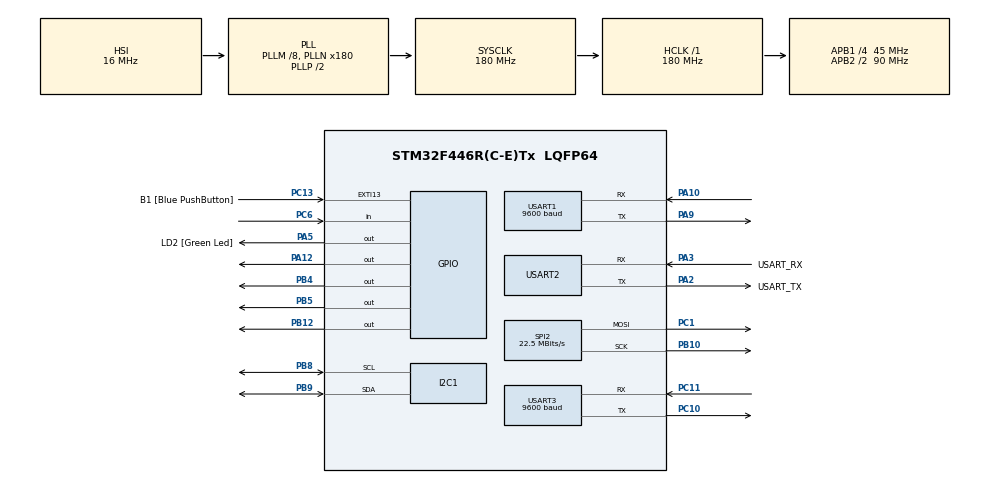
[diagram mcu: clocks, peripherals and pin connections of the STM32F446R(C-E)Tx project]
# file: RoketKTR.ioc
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FATFS._MAX_SS=4096
FATFS._USE_LFN=1
I2C1.I2C_Mode=I2C_Fast
Mcu.Family=STM32F4
Mcu.Name=STM32F446R(C-E)Tx
Mcu.Package=LQFP64
NVIC.PriorityGroup=NVIC_PRIORITYGROUP_0
NVIC.TIM7_IRQn=true\:0\:0\:false\:false\:true\:true\:true\:true
NVIC.USART1_IRQn=true\:0\:0\:false\:false\:true\:true\:true\:true
NVIC.USART3_IRQn=true\:0\:0\:false\:false\:true\:true\:true\:true
PA10.Mode=Asynchronous
PA10.Signal=USART1_RX
PA12.GPIO_PuPd=GPIO_PULLUP
PA12.Signal=GPIO_Output
PA13.GPIO_Label=TMS
PA13.Mode=Serial_Wire
PA13.Signal=SYS_JTMS-SWDIO
PA14.GPIO_Label=TCK
PA14.Mode=Serial_Wire
PA14.Signal=SYS_JTCK-SWCLK
PA2.GPIO_Label=USART_TX
PA2.Mode=Asynchronous
PA2.Signal=USART2_TX
PA3.GPIO_Label=USART_RX
PA3.Mode=Asynchronous
PA3.Signal=USART2_RX
PA5.GPIO_Label=LD2 [Green Led]
PA5.Signal=GPIO_Output
PA9.Mode=Asynchronous
PA9.Signal=USART1_TX
PB10.Mode=TX_Only_Simplex_Unidirect_Master
PB10.Signal=SPI2_SCK
PB12.GPIO_PuPd=GPIO_PULLDOWN
PB12.PinState=GPIO_PIN_SET
PB12.Signal=GPIO_Output
PB3.GPIO_Label=SWO
PB3.Signal=SYS_JTDO-SWO
PB4.GPIO_PuPd=GPIO_PULLDOWN
PB4.Signal=GPIO_Output
PB5.GPIO_PuPd=GPIO_PULLDOWN
PB5.Signal=GPIO_Output
PB8.Mode=I2C
PB8.Signal=I2C1_SCL
PB9.Mode=I2C
PB9.Signal=I2C1_SDA
PC1.Mode=TX_Only_Simplex_Unidirect_Master
PC1.Signal=SPI2_MOSI
PC10.Mode=Asynchronous
PC10.Signal=USART3_TX
PC11.Mode=Asynchronous
PC11.Signal=USART3_RX
PC13.GPIO_Label=B1 [Blue PushButton]
PC13.GPIO_ModeDefaultEXTI=GPIO_MODE_IT_FALLING
PC13.Signal=GPXTI13
PC14-OSC32_IN.Mode=LSE-External-Oscillator
PC14-OSC32_IN.Signal=RCC_OSC32_IN
PC15-OSC32_OUT.Mode=LSE-External-Oscillator
PC15-OSC32_OUT.Signal=RCC_OSC32_OUT
PC6.Signal=GPIO_Input
PH0-OSC_IN.Mode=HSE-External-Oscillator
PH0-OSC_IN.Signal=RCC_OSC_IN
PH1-OSC_OUT.Mode=HSE-External-Oscillator
PH1-OSC_OUT.Signal=RCC_OSC_OUT
ProjectManager.HeapSize=0x200
ProjectManager.StackSize=0x400
ProjectManager.TargetToolchain=STM32CubeIDE
RCC.48MHZClocksFreq_Value=84000000
RCC.AHBFreq_Value=180000000
RCC.APB1CLKDivider=RCC_HCLK_DIV4
RCC.APB1Freq_Value=45000000
RCC.APB1TimFreq_Value=90000000
RCC.APB2CLKDivider=RCC_HCLK_DIV2
RCC.APB2Freq_Value=90000000
RCC.APB2TimFreq_Value=180000000
RCC.CortexFreq_Value=180000000
RCC.FLatency-AdvancedSettings=FLASH_LATENCY_5
RCC.HCLKFreq_Value=180000000
RCC.HSE_VALUE=8000000
RCC.HSI_VALUE=16000000
RCC.PLLM=8
RCC.PLLN=180
RCC.SYSCLKFreq_VALUE=180000000
RCC.SYSCLKSource=RCC_SYSCLKSOURCE_PLLCLK
RCC.USBFreq_Value=180000000
RCC.VCOOutputFreq_Value=360000000
SPI2.CalculateBaudRate=22.5 MBits/s
SPI2.Direction=SPI_DIRECTION_2LINES
SPI2.Mode=SPI_MODE_MASTER
SPI2.VirtualType=VM_MASTER
TIM7.Period=549
TIM7.Prescaler=1000
USART1.BaudRate=9600
USART1.VirtualMode=VM_ASYNC
USART2.VirtualMode=VM_ASYNC
USART3.BaudRate=9600
USART3.VirtualMode=VM_ASYNC
VP_FATFS_VS_Generic.Mode=User_defined
VP_TIM7_VS_ClockSourceINT.Mode=Enable_Timer
board=NUCLEO-F446RE

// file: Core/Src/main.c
/* USER CODE BEGIN Header */
/**
 ******************************************************************************
 * @file           : main.c
 * @brief          : Main program body
 ******************************************************************************
 * @attention
 *
 * Copyright (c) 2024 STMicroelectronics.
 * All rights reserved.
 *
 * This software is licensed under terms that can be found in the LICENSE file
 * in the root directory of this software component.
 * If no LICENSE file comes with this software, it is provided AS-IS.
 *
 ******************************************************************************
 */
/* USER CODE END Header */
#include "main.h"

/* USER CODE BEGIN Includes */
#include "lwgps/lwgps.h"
#include "ms5803.h"
#include "mpu9255.h"
#include "kalman.h"

#include "string.h"
/* USER CODE END Includes */

/* USER CODE BEGIN PTD */
typedef union{
	float           sayi;
	unsigned char   array[4];
}FLOAT32_UINT8_DONUSTURUCU;

/* USER CODE END PTD */

I2C_HandleTypeDef hi2c1;

SPI_HandleTypeDef hspi2;

TIM_HandleTypeDef htim7;

UART_HandleTypeDef huart1;
UART_HandleTypeDef huart2;
UART_HandleTypeDef huart3;

/* USER CODE BEGIN PV */
//gps değişkenleri
lwgps_t gps;

uint8_t rx_buffer[128];
uint8_t rx_data = 0;
uint8_t rx_index = 0;
uint8_t r = '\n';
//ms5803 sıcaklık ve basınç değeri
float temperature, pressure = 0;
float Rpitch;
float irtifaP;
//imu sensör
MPU9255_t MPU9255;

//PAKET YAPISI
unsigned char olusturalacak_paket[48];

volatile bool readSensorFlag = false;
float altitudeChange = 0;

uint16_t timerCount = 0;
bool bayrak = false;

/* USER CODE END PV */

void SystemClock_Config(void);
static void MX_GPIO_Init(void);
static void MX_USART2_UART_Init(void);
static void MX_USART1_UART_Init(void);
static void MX_USART3_UART_Init(void);
static void MX_I2C1_Init(void);
static void MX_SPI2_Init(void);
static void MX_TIM7_Init(void);
/* USER CODE BEGIN PFP */

int _write(int file, char *ptr, int len)
{
	HAL_UART_Transmit(&huart2, (uint8_t*)ptr, len, HAL_MAX_DELAY);
	return len;
}
void send_uart (char *string)
{
	uint8_t len = strlen(string);
	HAL_UART_Transmit(&huart2, (uint8_t *)string , len, 2000);
}

void paketolustur(void);

double altitudeC(float  P);

void HAL_TIM_PeriodElapsedCallback(TIM_HandleTypeDef *htim)
{

	readSensorFlag = true;

	HAL_GPIO_WritePin(GPIOA, GPIO_PIN_5, 1);
	paketolustur();

	uint8_t buffer = 0x00;
	HAL_UART_Transmit(&huart3, &buffer, 1, 100);

	HAL_UART_Transmit(&huart3, &buffer, 1, 100);
	buffer = 0x17;
	HAL_UART_Transmit(&huart3, &buffer, 1, 100);

	HAL_UART_Transmit(&huart3, olusturalacak_paket, 48, 100);

	HAL_UART_Transmit(&huart3, &buffer, 1, 100);
	HAL_TIM_Base_Start_IT(&htim7);
	HAL_GPIO_WritePin(GPIOA, GPIO_PIN_5, 0);

}
void HAL_UART_RxCpltCallback(UART_HandleTypeDef *huart)
{
	if(huart == &huart1)
	{
		if(rx_data != '\n'&& rx_index<=sizeof(rx_buffer))
		{
			rx_buffer[rx_index++] = rx_data;

		}
		else
		{
			//parser
			lwgps_process(&gps, rx_buffer, rx_index+1);
			rx_index=0;
			rx_data = 0;

		}
		HAL_UART_Receive_IT(&huart1, &rx_data, 1);
	}

}

double altitude(float P)
// Given a pressure measurement P (mbar) and the pressure at a baseline P0 (mbar),
// return altitude (meters) above baseline.
{
	return(44330.0*(1-pow(P/1013.25,1/5.255)));
}

/* USER CODE END PFP */

int main(void)
{

	/* MCU Configuration--------------------------------------------------------*/

	/* Reset of all peripherals, Initializes the Flash interface and the Systick. */
	HAL_Init();

	/* Configure the system clock */
	SystemClock_Config();

	/* Initialize all configured peripherals */
	MX_GPIO_Init();
	MX_USART2_UART_Init();
	MX_USART1_UART_Init();
	MX_USART3_UART_Init();
	MX_I2C1_Init();
	MX_SPI2_Init();
	MX_TIM7_Init();

	/* USER CODE BEGIN 2 */
	//gps init
	lwgps_init(&gps);

	//ms5803 init

	HAL_StatusTypeDef test = MS5803_reset(&hi2c1); //reset
	MS5803_Init(&hi2c1, 6);

	while(test == HAL_ERROR) {
		//if the test fails
	}
	while(MPU9255_Init(&hi2c1)==1);
	HAL_Delay(1000);
	HAL_UART_Receive_IT(&huart1, &rx_data, 1);
	HAL_TIM_Base_Start_IT(&htim7);

	/* USER CODE END 2 */

	/* Infinite loop */
	/* USER CODE BEGIN WHILE */
	while (1)
	{

		MS5803_get_values(&hi2c1, ADC_4096, &temperature, &pressure);
		readAll(&hi2c1, &MPU9255);
		//HAL_Delay(10);
		irtifaP = altitude(pressure);
		Rpitch = MPU9255.pitch;
		if(readSensorFlag)
		{
			if(timerCount > 20)
			{
				bayrak = true;
			}
			timerCount++;
			altitudeChange = altitudeC(pressure);
			readSensorFlag = false;
			if((timerCount > 20 || bayrak ) && ((altitudeChange > 7) || (MPU9255.AccelZ < 0.1)))
			{
				HAL_GPIO_WritePin(GPIOB, GPIO_PIN_5, GPIO_PIN_SET);
				HAL_Delay(400);
				HAL_GPIO_WritePin(GPIOB, GPIO_PIN_5, GPIO_PIN_RESET);
			}
		}
		if(((MPU9255.AccelZ < 0.1)))
		{
			HAL_GPIO_WritePin(GPIOB, GPIO_PIN_5, GPIO_PIN_SET);
			HAL_Delay(400);
			HAL_GPIO_WritePin(GPIOB, GPIO_PIN_5, GPIO_PIN_RESET);
		}

		//HAL_GPIO_WritePin(GPIOB, GPIO_PIN_5, GPIO_PIN_SET);

		//HAL_UART_Transmit(&huart3, olusturalacak_paket, 44, 10);

		/* USER CODE END WHILE */

	}
}
double altitudeC(float  P)
// Given a pressure measurement P (mbar) and the pressure at a baseline P0 (mbar),
// return altitude (meters) above baseline.
{

	float p0ressure = 0;
	MS5803_get_values(&hi2c1, ADC_4096, &temperature, &p0ressure);

	return(44330.0*(1-pow(P/p0ressure,1/5.255)));

}

void paketolustur(void)
{

	FLOAT32_UINT8_DONUSTURUCU irtifa;
	irtifa.sayi = irtifaP;
	olusturalacak_paket[0]=irtifa.array[0];
	olusturalacak_paket[1]=irtifa.array[1];
	olusturalacak_paket[2]=irtifa.array[2];
	olusturalacak_paket[3]=irtifa.array[3];

	FLOAT32_UINT8_DONUSTURUCU gpsIrtifa;
	gpsIrtifa.sayi = gps.altitude;
	olusturalacak_paket[4]=gpsIrtifa.array[0];
	olusturalacak_paket[5]=gpsIrtifa.array[1];
	olusturalacak_paket[6]=gpsIrtifa.array[2];
	olusturalacak_paket[7]=gpsIrtifa.array[3];

	FLOAT32_UINT8_DONUSTURUCU enlem;
	enlem.sayi = gps.latitude;
	olusturalacak_paket[8]=enlem.array[0];
	olusturalacak_paket[9]=enlem.array[1];
	olusturalacak_paket[10]=enlem.array[2];
	olusturalacak_paket[11]=enlem.array[3];

	FLOAT32_UINT8_DONUSTURUCU boylam;
	boylam.sayi = gps.longitude;
	olusturalacak_paket[12]=boylam.array[0];
	olusturalacak_paket[13]=boylam.array[1];
	olusturalacak_paket[14]=boylam.array[2];
	olusturalacak_paket[15]=boylam.array[3];

	FLOAT32_UINT8_DONUSTURUCU gyroX;
	gyroX.sayi = MPU9255.GyroX;
	olusturalacak_paket[16]=gyroX.array[0];
	olusturalacak_paket[17]=gyroX.array[1];
	olusturalacak_paket[18]=gyroX.array[2];
	olusturalacak_paket[19]=gyroX.array[3];

	FLOAT32_UINT8_DONUSTURUCU gyroY;
	gyroY.sayi = MPU9255.GyroY;
	olusturalacak_paket[20]=gyroY.array[0];
	olusturalacak_paket[21]=gyroY.array[1];
	olusturalacak_paket[22]=gyroY.array[2];
	olusturalacak_paket[23]=gyroY.array[3];

	FLOAT32_UINT8_DONUSTURUCU gyroZ;
	gyroZ.sayi = MPU9255.GyroZ;
	olusturalacak_paket[24]=gyroZ.array[0];
	olusturalacak_paket[25]=gyroZ.array[1];
	olusturalacak_paket[26]=gyroZ.array[2];
	olusturalacak_paket[27]=gyroZ.array[3];

	FLOAT32_UINT8_DONUSTURUCU acx;
	acx.sayi = MPU9255.AccelX;
	olusturalacak_paket[28]=acx.array[0];
	olusturalacak_paket[29]=acx.array[1];
	olusturalacak_paket[30]=acx.array[2];
	olusturalacak_paket[31]=acx.array[3];

	FLOAT32_UINT8_DONUSTURUCU acy;
	acy.sayi = MPU9255.AccelY;
	olusturalacak_paket[32]=acy.array[0];
	olusturalacak_paket[33]=acy.array[1];
	olusturalacak_paket[34]=acy.array[2];
	olusturalacak_paket[35]=acy.array[3];

	FLOAT32_UINT8_DONUSTURUCU acz;
	acz.sayi = MPU9255.AccelZ;
	olusturalacak_paket[36]=acz.array[0];
	olusturalacak_paket[37]=acz.array[1];
	olusturalacak_paket[38]=acz.array[2];
	olusturalacak_paket[39]=acz.array[3];

	FLOAT32_UINT8_DONUSTURUCU angle;
	angle.sayi = Rpitch;
	olusturalacak_paket[40]=angle.array[0];
	olusturalacak_paket[41]=angle.array[1];
	olusturalacak_paket[42]=angle.array[2];
	olusturalacak_paket[43]=angle.array[3];

	FLOAT32_UINT8_DONUSTURUCU sicaklik;
	sicaklik.sayi = temperature;
	olusturalacak_paket[44]=sicaklik.array[0];
	olusturalacak_paket[45]=sicaklik.array[1];
	olusturalacak_paket[46]=sicaklik.array[2];
	olusturalacak_paket[47]=sicaklik.array[3];

}
void SystemClock_Config(void)
{
	RCC_OscInitTypeDef RCC_OscInitStruct = {0};
	RCC_ClkInitTypeDef RCC_ClkInitStruct = {0};

	/** Configure the main internal regulator output voltage
	 */
	__HAL_RCC_PWR_CLK_ENABLE();
	__HAL_PWR_VOLTAGESCALING_CONFIG(PWR_REGULATOR_VOLTAGE_SCALE1);

	/** Initializes the RCC Oscillators according to the specified parameters
	 * in the RCC_OscInitTypeDef structure.
	 */
	RCC_OscInitStruct.OscillatorType = RCC_OSCILLATORTYPE_HSI;
	RCC_OscInitStruct.HSIState = RCC_HSI_ON;
	RCC_OscInitStruct.HSICalibrationValue = RCC_HSICALIBRATION_DEFAULT;
	RCC_OscInitStruct.PLL.PLLState = RCC_PLL_ON;
	RCC_OscInitStruct.PLL.PLLSource = RCC_PLLSOURCE_HSI;
	RCC_OscInitStruct.PLL.PLLM = 8;
	RCC_OscInitStruct.PLL.PLLN = 180;
	RCC_OscInitStruct.PLL.PLLP = RCC_PLLP_DIV2;
	RCC_OscInitStruct.PLL.PLLQ = 2;
	RCC_OscInitStruct.PLL.PLLR = 2;
	if (HAL_RCC_OscConfig(&RCC_OscInitStruct) != HAL_OK)
	{
		Error_Handler();
	}

	/** Activate the Over-Drive mode
	 */
	if (HAL_PWREx_EnableOverDrive() != HAL_OK)
	{
		Error_Handler();
	}

	/** Initializes the CPU, AHB and APB buses clocks
	 */
	RCC_ClkInitStruct.ClockType = RCC_CLOCKTYPE_HCLK|RCC_CLOCKTYPE_SYSCLK
			|RCC_CLOCKTYPE_PCLK1|RCC_CLOCKTYPE_PCLK2;
	RCC_ClkInitStruct.SYSCLKSource = RCC_SYSCLKSOURCE_PLLCLK;
	RCC_ClkInitStruct.AHBCLKDivider = RCC_SYSCLK_DIV1;
	RCC_ClkInitStruct.APB1CLKDivider = RCC_HCLK_DIV4;
	RCC_ClkInitStruct.APB2CLKDivider = RCC_HCLK_DIV2;

	if (HAL_RCC_ClockConfig(&RCC_ClkInitStruct, FLASH_LATENCY_5) != HAL_OK)
	{
		Error_Handler();
	}
}

static void MX_I2C1_Init(void)
{

	hi2c1.Instance = I2C1;
	hi2c1.Init.ClockSpeed = 400000;
	hi2c1.Init.DutyCycle = I2C_DUTYCYCLE_2;
	hi2c1.Init.OwnAddress1 = 0;
	hi2c1.Init.AddressingMode = I2C_ADDRESSINGMODE_7BIT;
	hi2c1.Init.DualAddressMode = I2C_DUALADDRESS_DISABLE;
	hi2c1.Init.OwnAddress2 = 0;
	hi2c1.Init.GeneralCallMode = I2C_GENERALCALL_DISABLE;
	hi2c1.Init.NoStretchMode = I2C_NOSTRETCH_DISABLE;
	if (HAL_I2C_Init(&hi2c1) != HAL_OK)
	{
		Error_Handler();
	}

}

static void MX_SPI2_Init(void)
{

	/* SPI2 parameter configuration*/
	hspi2.Instance = SPI2;
	hspi2.Init.Mode = SPI_MODE_MASTER;
	hspi2.Init.Direction = SPI_DIRECTION_2LINES;
	hspi2.Init.DataSize = SPI_DATASIZE_8BIT;
	hspi2.Init.CLKPolarity = SPI_POLARITY_LOW;
	hspi2.Init.CLKPhase = SPI_PHASE_1EDGE;
	hspi2.Init.NSS = SPI_NSS_SOFT;
	hspi2.Init.BaudRatePrescaler = SPI_BAUDRATEPRESCALER_2;
	hspi2.Init.FirstBit = SPI_FIRSTBIT_MSB;
	hspi2.Init.TIMode = SPI_TIMODE_DISABLE;
	hspi2.Init.CRCCalculation = SPI_CRCCALCULATION_DISABLE;
	hspi2.Init.CRCPolynomial = 10;
	if (HAL_SPI_Init(&hspi2) != HAL_OK)
	{
		Error_Handler();
	}

}

static void MX_TIM7_Init(void)
{

	TIM_MasterConfigTypeDef sMasterConfig = {0};

	htim7.Instance = TIM7;
	htim7.Init.Prescaler = 2400;
	htim7.Init.CounterMode = TIM_COUNTERMODE_UP;
	htim7.Init.Period = 65535;
	htim7.Init.AutoReloadPreload = TIM_AUTORELOAD_PRELOAD_DISABLE;
	if (HAL_TIM_Base_Init(&htim7) != HAL_OK)
	{
		Error_Handler();
	}
	sMasterConfig.MasterOutputTrigger = TIM_TRGO_RESET;
	sMasterConfig.MasterSlaveMode = TIM_MASTERSLAVEMODE_DISABLE;
	if (HAL_TIMEx_MasterConfigSynchronization(&htim7, &sMasterConfig) != HAL_OK)
	{
		Error_Handler();
	}

}

static void MX_USART1_UART_Init(void)
{

	huart1.Instance = USART1;
	huart1.Init.BaudRate = 9600;
	huart1.Init.WordLength = UART_WORDLENGTH_8B;
	huart1.Init.StopBits = UART_STOPBITS_1;
	huart1.Init.Parity = UART_PARITY_NONE;
	huart1.Init.Mode = UART_MODE_TX_RX;
	huart1.Init.HwFlowCtl = UART_HWCONTROL_NONE;
	huart1.Init.OverSampling = UART_OVERSAMPLING_16;
	if (HAL_UART_Init(&huart1) != HAL_OK)
	{
		Error_Handler();
	}

}

static void MX_USART2_UART_Init(void)
{

	huart2.Instance = USART2;
	huart2.Init.BaudRate = 115200;
	huart2.Init.WordLength = UART_WORDLENGTH_8B;
	huart2.Init.StopBits = UART_STOPBITS_1;
	huart2.Init.Parity = UART_PARITY_NONE;
	huart2.Init.Mode = UART_MODE_TX_RX;
	huart2.Init.HwFlowCtl = UART_HWCONTROL_NONE;
	huart2.Init.OverSampling = UART_OVERSAMPLING_16;
	if (HAL_UART_Init(&huart2) != HAL_OK)
	{
		Error_Handler();
	}

}

static void MX_USART3_UART_Init(void)
{

	huart3.Instance = USART3;
	huart3.Init.BaudRate = 9600;
	huart3.Init.WordLength = UART_WORDLENGTH_8B;
	huart3.Init.StopBits = UART_STOPBITS_1;
	huart3.Init.Parity = UART_PARITY_NONE;
	huart3.Init.Mode = UART_MODE_TX_RX;
	huart3.Init.HwFlowCtl = UART_HWCONTROL_NONE;
	huart3.Init.OverSampling = UART_OVERSAMPLING_16;
	if (HAL_UART_Init(&huart3) != HAL_OK)
	{
		Error_Handler();
	}

}

static void MX_GPIO_Init(void)
{
	GPIO_InitTypeDef GPIO_InitStruct = {0};

	/* GPIO Ports Clock Enable */
	__HAL_RCC_GPIOC_CLK_ENABLE();
	__HAL_RCC_GPIOH_CLK_ENABLE();
	__HAL_RCC_GPIOA_CLK_ENABLE();
	__HAL_RCC_GPIOB_CLK_ENABLE();

	/*Configure GPIO pin Output Level */
	HAL_GPIO_WritePin(GPIOA, LD2_Pin|GPIO_PIN_12, GPIO_PIN_RESET);

	/*Configure GPIO pin Output Level */
	HAL_GPIO_WritePin(GPIOB, GPIO_PIN_12, GPIO_PIN_SET);

	/*Configure GPIO pin Output Level */
	HAL_GPIO_WritePin(GPIOB, GPIO_PIN_4|GPIO_PIN_5, GPIO_PIN_RESET);

	/*Configure GPIO pin : B1_Pin */
	GPIO_InitStruct.Pin = B1_Pin;
	GPIO_InitStruct.Mode = GPIO_MODE_IT_FALLING;
	GPIO_InitStruct.Pull = GPIO_NOPULL;
	HAL_GPIO_Init(B1_GPIO_Port, &GPIO_InitStruct);

	/*Configure GPIO pin : LD2_Pin */
	GPIO_InitStruct.Pin = LD2_Pin;
	GPIO_InitStruct.Mode = GPIO_MODE_OUTPUT_PP;
	GPIO_InitStruct.Pull = GPIO_NOPULL;
	GPIO_InitStruct.Speed = GPIO_SPEED_FREQ_LOW;
	HAL_GPIO_Init(LD2_GPIO_Port, &GPIO_InitStruct);

	/*Configure GPIO pins : PB12 PB4 PB5 */
	GPIO_InitStruct.Pin = GPIO_PIN_12|GPIO_PIN_4|GPIO_PIN_5;
	GPIO_InitStruct.Mode = GPIO_MODE_OUTPUT_PP;
	GPIO_InitStruct.Pull = GPIO_PULLDOWN;
	GPIO_InitStruct.Speed = GPIO_SPEED_FREQ_LOW;
	HAL_GPIO_Init(GPIOB, &GPIO_InitStruct);

	/*Configure GPIO pin : PC6 */
	GPIO_InitStruct.Pin = GPIO_PIN_6;
	GPIO_InitStruct.Mode = GPIO_MODE_INPUT;
	GPIO_InitStruct.Pull = GPIO_NOPULL;
	HAL_GPIO_Init(GPIOC, &GPIO_InitStruct);

	/*Configure GPIO pin : PA12 */
	GPIO_InitStruct.Pin = GPIO_PIN_12;
	GPIO_InitStruct.Mode = GPIO_MODE_OUTPUT_PP;
	GPIO_InitStruct.Pull = GPIO_PULLUP;
	GPIO_InitStruct.Speed = GPIO_SPEED_FREQ_LOW;
	HAL_GPIO_Init(GPIOA, &GPIO_InitStruct);

}

void Error_Handler(void)
{
	__disable_irq();
	while (1)
	{
	}
}
